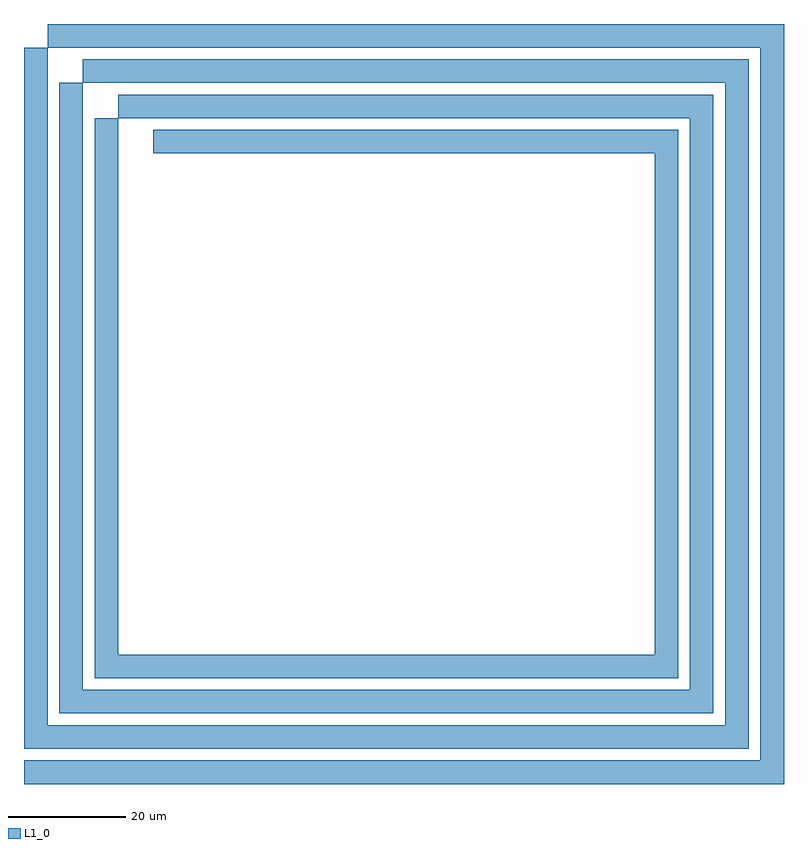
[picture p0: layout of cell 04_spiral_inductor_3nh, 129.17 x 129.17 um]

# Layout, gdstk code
import gdstk
lib = gdstk.Library(unit=1e-6, precision=1e-09)
def R(c, l, rs):  # rectangles x0, y0, x1, y1
    for r in rs: c.add(gdstk.rectangle(r[:2], r[2:], *l))
L1_0 = (1, 0)

c_04_spiral_inductor_3nh = lib.new_cell('04_spiral_inductor_3nh')
R(c_04_spiral_inductor_3nh, L1_0, [(0,0,129.168,4), (125.168,0,129.168,129.168), (0,6,10,10), (6,6,123.168,10), (119.168,6,123.168,123.168), (0,10,4,125.168), (6,12,16,16), (12,12,117.168,16), (113.168,12,117.168,117.168), (6,16,10,119.168), (12,18,22,22), (18,18,111.168,22), (107.168,18,111.168,111.168), (12,22,16,113.168), (22,107.168,107.168,111.168), (16,113.168,113.168,117.168), (10,119.168,119.168,123.168), (4,125.168,125.168,129.168)])

lib.write_gds('04_spiral_inductor_3nh.gds')
